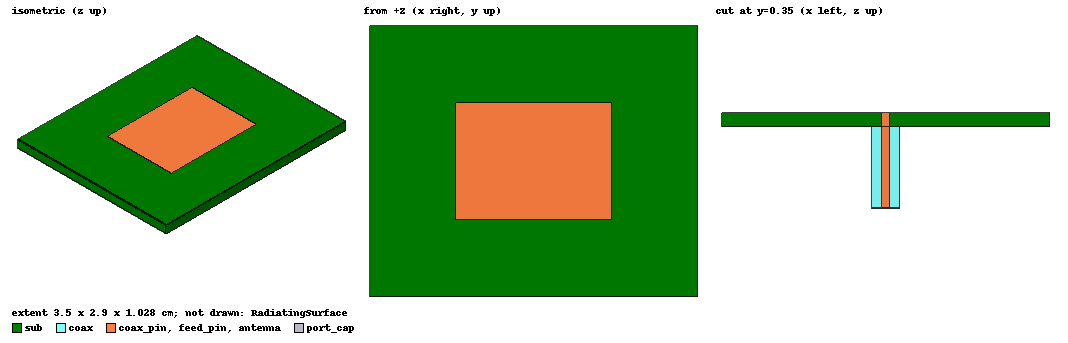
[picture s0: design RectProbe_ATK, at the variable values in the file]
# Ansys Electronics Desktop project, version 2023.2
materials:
  vacuum: permittivity=1
  Rogers RO4350 (tm): permittivity=3.66 dielectric_loss_tangent=0.004
  pec: conductivity=1e+30
  Teflon (tm): permittivity=2.1 dielectric_loss_tangent=0.001

design RectProbe_ATK (HFSS, HFSS Hybrid Terminal Network, model units cm)
options: Allow_Material_Override Save_Adaptive_support_files open_region{BoundaryType=0 OpFreq=5.8GHz}
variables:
  # --Antenna Dimensions
  patchX = 1.657cm
  patchY = 1.247cm
  # --Substrate Dimensions
  subH = 0.1525cm
  subX = 3.5cm
  subY = 2.9cm
  # --Feed Dimensions
  feedX = 0cm
  feedY = 0.35cm
  coax_inner_rad = 0.043cm
  coax_outer_rad = 0.147cm
  feedLength = 0.86cm
  design_freq = 5.8GHz
  gnd_x = subX
  gnd_y = subY
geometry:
  sub [Rogers RO4350 (tm)] = box(corner=(-subX/2, -subY/2, 0cm), size=(subX, subY, subH))
  Ground = rectangle(corner=(-gnd_x/2, -gnd_y/2, 0cm), x_size=gnd_x, y_size=gnd_y)
  antenna = rectangle(corner=(-patchX/2, -patchY/2, subH), x_size=patchX, y_size=patchY)
  NewObject_5DZKMI = circle(normal=Z, centre=(feedX, feedY, 0cm), radius=coax_outer_rad)
  Ground.subtract(NewObject_5DZKMI)
  feed_pin [pec] = cylinder(axis=Z, base_centre=(feedX, feedY, 0cm), radius=coax_inner_rad, height=subH)
  coax_pin [pec] = cylinder(axis=Z, base_centre=(feedX, feedY, 0cm), radius=coax_inner_rad, height=-feedLength)
  coax [Teflon (tm)] = cylinder(axis=Z, base_centre=(feedX, feedY, 0cm), radius=coax_outer_rad, height=-feedLength)
  port_cap [pec] = cylinder(axis=Z, base_centre=(feedX, feedY, -feedLength), radius=coax_outer_rad, height=-subH/10)
  port1 = circle(normal=Z, centre=(feedX, feedY, -feedLength), radius=coax_outer_rad)
  RadiatingSurface [vacuum] = region(absolute_offset=1.7241379cm on all sides)
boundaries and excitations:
  antennaMetal: Perfect E Objects=antenna
  coax_outer: Perfect E Faces=coax.face(side)
  groundMetal: Perfect E Objects=Ground
  AutoOpen1: Radiation Objects=RadiatingSurface
  coax_pin_T1: Terminal port=1 Faces=coax_pin.face(-z end) TerminalResistance=50ohm
  1: Wave Port Faces=port1.face WavePortType=Terminal NumModes=1
  reference conductors: port_cap
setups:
  ATK_Solution: HfssDriven Frequency=5.8GHz MaxDeltaS=0.02 MaximumPasses=15 MinimumPasses=1 MinimumConvergedPasses=1 PercentRefinement=30 BasisOrder=1 PortAccuracy=2 DrivenSolverType="Direct Solver" IESolverType=ACA
    sweep FF_Sweep: 5.725GHz to 5.875GHz, 3 points; Type=Discrete SaveFields
    sweep SParam_Sweep: 2.9GHz to 8.7GHz, 100 points; Type=Interpolating InterpTolerance=0.5 InterpMaxSolns=250 PassivityErrorTolerance=0.0001
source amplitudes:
  1:1: 1V 0deg
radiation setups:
  3D: Infinite Sphere Theta=0deg..180deg step 2deg Phi=-180deg..180deg step 2deg
  Elevation: Infinite Sphere Theta=-180deg..180deg step 1deg Phi=0deg..90deg step 90deg
  Azimuth: Infinite Sphere Theta=90deg..90deg step 0deg Phi=-180deg..180deg step 1deg
  ATK_2D: Infinite Sphere Theta=-180deg..180deg step 1deg Phi=0deg..90deg step 90deg
  ATK_3D: Infinite Sphere Theta=-180deg..180deg step 2deg Phi=0deg..180deg step 5deg
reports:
  ff_3D_GainTotal: dB(GainTotal) vs Phi, Theta on ATK_Solution : LastAdaptive, ATK_3D [Freq=5.8e+09]
  ff_2D_GainTotal: dB(GainTotal) vs Theta on ATK_Solution : LastAdaptive, ATK_2D [Phi=all Freq=5.8e+09]
  ff_2D_GainTotal_Stacked: dB(GainTotal) vs Theta on ATK_Solution : FF_Sweep, ATK_2D [Phi=all Freq=all]
  Antenna Params Plot 1: RadiationEfficiency vs Freq on ATK_Solution : FF_Sweep
  Antenna Params Plot 2: PeakGain vs Freq on ATK_Solution : FF_Sweep
